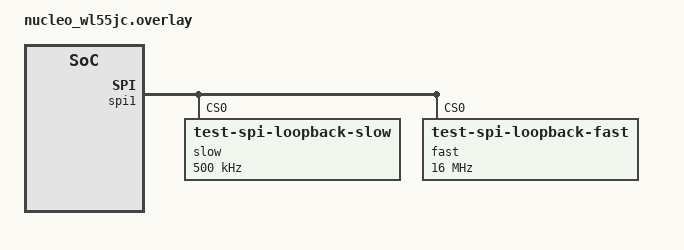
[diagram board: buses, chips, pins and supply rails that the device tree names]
/*
 * Copyright (c) 2021 STMicroelectronics
 *
 * SPDX-License-Identifier: Apache-2.0
 */

&spi1 {
	dmas = <&dmamux1 11 8 0x20440
		&dmamux1 1 7 0x20480>;
	dma-names = "tx", "rx";
	slow@0 {
		compatible = "test-spi-loopback-slow";
		reg = <0>;
		spi-max-frequency = <500000>;
	};
	fast@0 {
		compatible = "test-spi-loopback-fast";
		reg = <0>;
		spi-max-frequency = <16000000>;
	};
};

&dma1 {
	status = "okay";
};

&dma2 {
	status = "okay";
};

&dmamux1 {
	status = "okay";
};
